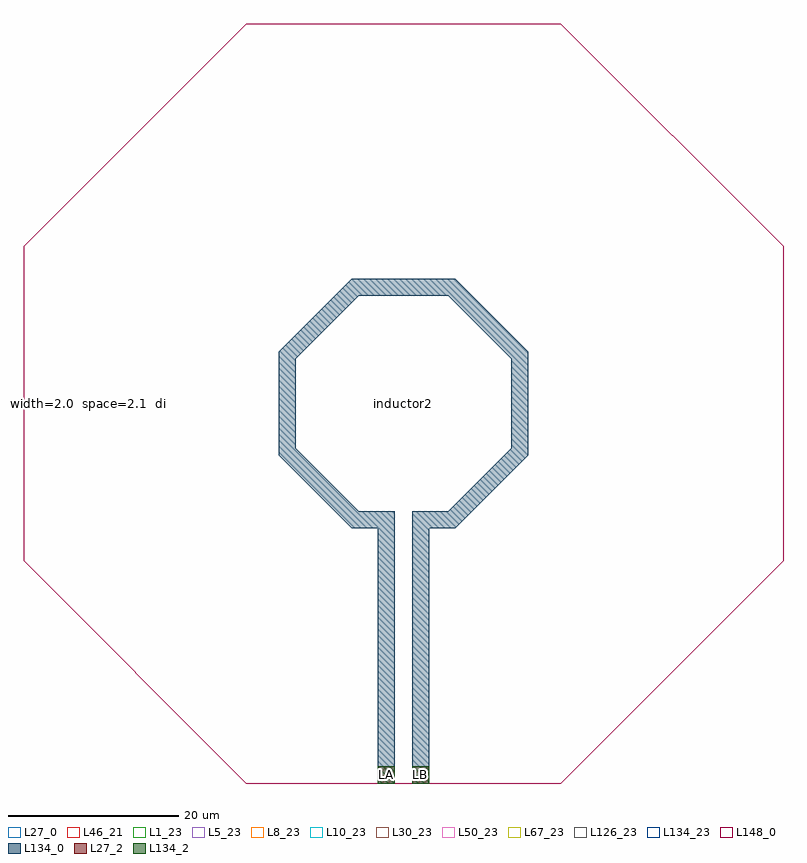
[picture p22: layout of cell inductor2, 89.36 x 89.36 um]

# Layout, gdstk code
import gdstk
lib = gdstk.Library(unit=1e-6, precision=1e-09)
def R(c, l, rs):  # rectangles x0, y0, x1, y1
    for r in rs: c.add(gdstk.rectangle(r[:2], r[2:], *l))
def P(c, l, *ps):  # polygons
    for p in ps: c.add(gdstk.Polygon(p, *l))
L1_23 = (1, 23)
L5_23 = (5, 23)
L8_23 = (8, 23)
L10_23 = (10, 23)
L27_0 = (27, 0)
L27_2 = (27, 2)
L30_23 = (30, 23)
L46_21 = (46, 21)
L50_23 = (50, 23)
L67_23 = (67, 23)
L126_23 = (126, 23)
L134_0 = (134, 0)
L134_2 = (134, 2)
L134_23 = (134, 23)
L148_0 = (148, 0)

inductor2 = lib.new_cell('inductor2')
P(inductor2, L1_23, [(-18.505,0),(-44.68,26.175),(-44.68,63.185),(-18.505,89.36),(18.505,89.36),(44.68,63.185),(44.68,26.175),(18.505,0)],
  [(-18.505,0),(-44.68,26.175),(-44.68,63.185),(-18.505,89.36),(18.505,89.36),(44.68,63.185),(44.68,26.175),(18.505,0)])
P(inductor2, L5_23, [(-18.505,0),(-44.68,26.175),(-44.68,63.185),(-18.505,89.36),(18.505,89.36),(44.68,63.185),(44.68,26.175),(18.505,0)],
  [(-18.505,0),(-44.68,26.175),(-44.68,63.185),(-18.505,89.36),(18.505,89.36),(44.68,63.185),(44.68,26.175),(18.505,0)])
P(inductor2, L8_23, [(-18.505,0),(-44.68,26.175),(-44.68,63.185),(-18.505,89.36),(18.505,89.36),(44.68,63.185),(44.68,26.175),(18.505,0)],
  [(-18.505,0),(-44.68,26.175),(-44.68,63.185),(-18.505,89.36),(18.505,89.36),(44.68,63.185),(44.68,26.175),(18.505,0)])
P(inductor2, L10_23, [(-18.505,0),(-44.68,26.175),(-44.68,63.185),(-18.505,89.36),(18.505,89.36),(44.68,63.185),(44.68,26.175),(18.505,0)],
  [(-18.505,0),(-44.68,26.175),(-44.68,63.185),(-18.505,89.36),(18.505,89.36),(44.68,63.185),(44.68,26.175),(18.505,0)])
P(inductor2, L27_0, [(-18.505,0),(-44.68,26.175),(-44.68,63.185),(-18.505,89.36),(18.505,89.36),(44.68,63.185),(44.68,26.175),(18.505,0)],
  [(-18.505,0),(-44.68,26.175),(-44.68,63.185),(-18.505,89.36),(18.505,89.36),(44.68,63.185),(44.68,26.175),(18.505,0)])
R(inductor2, L27_2, [(-3.05,0,-1.05,2), (-3.05,0,-1.05,2), (1.05,0,3.05,2), (1.05,0,3.05,2)])
P(inductor2, L30_23, [(-18.505,0),(-44.68,26.175),(-44.68,63.185),(-18.505,89.36),(18.505,89.36),(44.68,63.185),(44.68,26.175),(18.505,0)],
  [(-18.505,0),(-44.68,26.175),(-44.68,63.185),(-18.505,89.36),(18.505,89.36),(44.68,63.185),(44.68,26.175),(18.505,0)])
P(inductor2, L46_21, [(-18.505,0),(-44.68,26.175),(-44.68,63.185),(-18.505,89.36),(18.505,89.36),(44.68,63.185),(44.68,26.175),(18.505,0)],
  [(-18.505,0),(-44.68,26.175),(-44.68,63.185),(-18.505,89.36),(18.505,89.36),(44.68,63.185),(44.68,26.175),(18.505,0)])
P(inductor2, L50_23, [(-18.505,0),(-44.68,26.175),(-44.68,63.185),(-18.505,89.36),(18.505,89.36),(44.68,63.185),(44.68,26.175),(18.505,0)],
  [(-18.505,0),(-44.68,26.175),(-44.68,63.185),(-18.505,89.36),(18.505,89.36),(44.68,63.185),(44.68,26.175),(18.505,0)])
P(inductor2, L67_23, [(-18.505,0),(-44.68,26.175),(-44.68,63.185),(-18.505,89.36),(18.505,89.36),(44.68,63.185),(44.68,26.175),(18.505,0)],
  [(-18.505,0),(-44.68,26.175),(-44.68,63.185),(-18.505,89.36),(18.505,89.36),(44.68,63.185),(44.68,26.175),(18.505,0)])
P(inductor2, L126_23, [(-18.505,0),(-44.68,26.175),(-44.68,63.185),(-18.505,89.36),(18.505,89.36),(44.68,63.185),(44.68,26.175),(18.505,0)],
  [(-18.505,0),(-44.68,26.175),(-44.68,63.185),(-18.505,89.36),(18.505,89.36),(44.68,63.185),(44.68,26.175),(18.505,0)])
R(inductor2, L134_0, [(-3.34,57.35,3.34,59.35), (-3.34,57.35,3.34,59.35)])
P(inductor2, L134_0, [(-6.08,30),(-14.675,38.595),(-14.675,50.755),(-6.08,59.35),(-3.34,59.35),(-3.34,57.35),(-5.25,57.35),(-12.675,49.925),(-12.675,39.425),(-5.25,32),(-1.05,32),(-1.05,30)],
  [(1.05,30),(1.05,32),(5.25,32),(12.675,39.425),(12.675,49.925),(5.25,57.35),(3.34,57.35),(3.34,59.35),(6.08,59.35),(14.675,50.755),(14.675,38.595),(6.08,30)],
  [(-6.08,30),(-14.675,38.595),(-14.675,50.755),(-6.08,59.35),(-3.34,59.35),(-3.34,57.35),(-5.25,57.35),(-12.675,49.925),(-12.675,39.425),(-5.25,32),(-1.05,32),(-1.05,30)],
  [(1.05,30),(1.05,32),(5.25,32),(12.675,39.425),(12.675,49.925),(5.25,57.35),(3.34,57.35),(3.34,59.35),(6.08,59.35),(14.675,50.755),(14.675,38.595),(6.08,30)])
R(inductor2, L134_2, [(-3.05,0,-1.05,2), (-3.05,0,-1.05,2), (1.05,0,3.05,2), (1.05,0,3.05,2)])
P(inductor2, L134_23, [(-18.505,0),(-44.68,26.175),(-44.68,63.185),(-18.505,89.36),(18.505,89.36),(44.68,63.185),(44.68,26.175),(18.505,0)],
  [(-18.505,0),(-44.68,26.175),(-44.68,63.185),(-18.505,89.36),(18.505,89.36),(44.68,63.185),(44.68,26.175),(18.505,0)])
P(inductor2, L148_0, [(-18.505,0),(-44.68,26.175),(-44.68,63.185),(-18.505,89.36),(18.505,89.36),(44.68,63.185),(44.68,26.175),(18.505,0)],
  [(-18.505,0),(-44.68,26.175),(-44.68,63.185),(-18.505,89.36),(18.505,89.36),(44.68,63.185),(44.68,26.175),(18.505,0)])
inductor2.add(gdstk.FlexPath([(-2.05,0),(-2.05,32)], 2, ends="flush", simple_path=True, layer=134, datatype=0))  # L134_0
inductor2.add(gdstk.FlexPath([(2.05,0),(2.05,32)], 2, ends="flush", simple_path=True, layer=134, datatype=0))  # L134_0
inductor2.add(gdstk.FlexPath([(-2.05,0),(-2.05,32)], 2, ends="flush", simple_path=True, layer=134, datatype=0))  # L134_0
inductor2.add(gdstk.FlexPath([(2.05,0),(2.05,32)], 2, ends="flush", simple_path=True, layer=134, datatype=0))  # L134_0
inductor2.add(gdstk.Label('  width=2.0\n  space=2.1\n  diameter=25.35\n  turns=1', (-42.68,44.68), layer=63, texttype=0))
inductor2.add(gdstk.Label('inductor2', (0,44.715), layer=63, texttype=0))
inductor2.add(gdstk.Label('  width=2.0\n  space=2.1\n  diameter=25.35\n  turns=1', (-42.68,44.68), layer=63, texttype=0))
inductor2.add(gdstk.Label('inductor2', (0,44.715), layer=63, texttype=0))
inductor2.add(gdstk.Label('LA', (-2.05,1), layer=27, texttype=25))
inductor2.add(gdstk.Label('LB', (2.05,1), layer=27, texttype=25))
inductor2.add(gdstk.Label('LA', (-2.05,1), layer=27, texttype=25))
inductor2.add(gdstk.Label('LB', (2.05,1), layer=27, texttype=25))

lib.write_gds('inductor2.gds')
